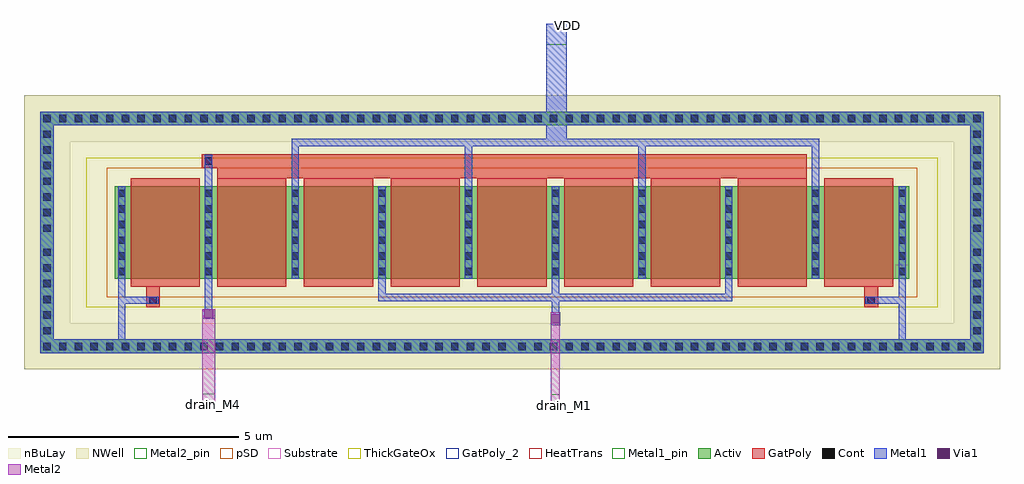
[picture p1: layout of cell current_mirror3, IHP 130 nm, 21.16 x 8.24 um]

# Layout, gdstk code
from math import pi, radians
import gdstk
lib = gdstk.Library(unit=1e-6, precision=5e-09)
def R(c, l, rs):  # rectangles x0, y0, x1, y1
    for r in rs: c.add(gdstk.rectangle(r[:2], r[2:], *l))
def A(c, l, x, y, w, h, nx, ny, dx, dy):  # array of equal rectangles
    R(c, l, [(x+i*dx, y+j*dy, x+i*dx+w, y+j*dy+h) for i in range(nx) for j in range(ny)])
def P(c, l, *ps):  # polygons
    for p in ps: c.add(gdstk.Polygon(p, *l))
Activ = (1, 0)
GatPoly = (5, 0)
GatPoly_2 = (5, 2)
Cont = (6, 0)
Metal1 = (8, 0)
Metal1_pin = (8, 2)
Metal2 = (10, 0)
Metal2_pin = (10, 2)
pSD = (14, 0)
Via1 = (19, 0)
NWell = (31, 0)
nBuLay = (32, 0)
Substrate = (40, 0)
ThickGateOx = (44, 0)
HeatTrans = (51, 0)

pmoshv = lib.new_cell('pmosHV')
A(pmoshv, Activ, 0, 0, 0.3, 0.3, 10, 1, 1.88, 0)
R(pmoshv, Activ, [(-1.62,-1.32,-1.32,3.32), (18.54,-1.32,18.84,3.32), (0,0,17.22,2), (-1.62,3.32,18.84,3.62)])
P(pmoshv, Activ, [(-1.62,-1.62),(-1.62,3.32),(-1.32,3.32),(-1.32,-1.32),(18.54,-1.32),(18.54,3.32),(-1.62,3.32),(-1.62,3.62),(18.84,3.62),(18.84,-1.62)])
A(pmoshv, GatPoly, 0.34, -0.18, 1.5, 2.36, 9, 1, 1.88, 0)
R(pmoshv, GatPoly_2, [(0.34,-0.18,1.84,2.18)])
A(pmoshv, Cont, -1.55, -1.55, 0.16, 0.16, 30, 2, 0.34, 4.94)
A(pmoshv, Cont, 8.75, -1.55, 0.16, 0.16, 30, 2, 0.34, 4.94)
A(pmoshv, Cont, -1.55, -1.21, 0.16, 0.16, 1, 6, 0, 0.34)
A(pmoshv, Cont, 18.61, -1.21, 0.16, 0.16, 1, 6, 0, 0.34)
A(pmoshv, Cont, 0.07, 0.07, 0.16, 0.16, 10, 6, 1.88, 0.34)
A(pmoshv, Cont, -1.55, 1.01, 0.16, 0.16, 1, 7, 0, 0.34)
A(pmoshv, Cont, 18.61, 1.01, 0.16, 0.16, 1, 7, 0, 0.34)
A(pmoshv, Metal1, 0.07, 0, 0.16, 2, 10, 1, 1.88, 0)
R(pmoshv, Metal1, [(-1.62,-1.62,18.84,-1.32), (-1.62,-1.32,-1.32,3.32), (18.54,-1.32,18.84,3.32), (-1.62,3.32,18.84,3.62)])
R(pmoshv, Metal1_pin, [(0.07,0,0.23,2), (1.95,0,2.11,2)])
R(pmoshv, pSD, [(-0.18,-0.4,17.4,2.4)])
R(pmoshv, NWell, [(-1.97,-1.97,19.19,3.97), (-0.62,-0.62,17.84,2.62)])
R(pmoshv, nBuLay, [(-1.97,-0.97,-0.97,2.97), (18.19,-0.97,19.19,2.97), (-1.97,2.97,19.19,3.97)])
P(pmoshv, nBuLay, [(-1.97,-1.97),(-1.97,2.97),(-0.97,2.97),(-0.97,-0.97),(18.19,-0.97),(18.19,2.97),(-1.97,2.97),(-1.97,3.97),(19.19,3.97),(19.19,-1.97)])
R(pmoshv, Substrate, [(16.92,0,17.22,0.3)])
R(pmoshv, ThickGateOx, [(-0.62,-0.62,17.84,2.62)])
A(pmoshv, HeatTrans, 0.34, -0.18, 1.5, 2.36, 9, 1, 1.88, 0)
pmoshv.add(gdstk.Label('pmosHV', (1.09,1), layer=63, texttype=0))
pmoshv.add(gdstk.Label('well', (8.61,-1.47), layer=63, texttype=0))
pmoshv.add(gdstk.Label('pmos', (1.09,1), layer=51, texttype=0))
pmoshv.add(gdstk.Label('pmos', (2.97,1), layer=51, texttype=0))
pmoshv.add(gdstk.Label('pmos', (4.85,1), layer=51, texttype=0))
pmoshv.add(gdstk.Label('pmos', (6.73,1), layer=51, texttype=0))
pmoshv.add(gdstk.Label('pmos', (8.61,1), layer=51, texttype=0))
pmoshv.add(gdstk.Label('pmos', (10.49,1), layer=51, texttype=0))
pmoshv.add(gdstk.Label('pmos', (12.37,1), layer=51, texttype=0))
pmoshv.add(gdstk.Label('pmos', (14.25,1), layer=51, texttype=0))
pmoshv.add(gdstk.Label('pmos', (16.13,1), layer=51, texttype=0))

via_stack = lib.new_cell('via_stack')
R(via_stack, Metal1, [(-0.145,-0.105,0.145,0.105)])
R(via_stack, Metal2, [(-0.145,-0.1,0.145,0.1)])
R(via_stack, Via1, [(-0.095,-0.095,0.095,0.095)])

via_stack_5 = lib.new_cell('via_stack$5')
R(via_stack_5, GatPoly, [(-0.15,-0.15,0.15,0.15)])
R(via_stack_5, Cont, [(-0.08,-0.08,0.08,0.08)])
R(via_stack_5, Metal1, [(-0.13,-0.08,0.13,0.08)])

current_mirror3 = lib.new_cell('current_mirror3')
R(current_mirror3, GatPoly, [(0.275,0.595,0.575,1.215), (0.275,0.595,0.575,1.215), (15.845,0.595,16.145,1.215), (15.845,0.595,16.145,1.215), (1.82,3.395,14.6,3.915), (1.48,3.615,2.02,3.915)])
R(current_mirror3, Metal1, [(16.59,-0.405,16.75,0.825), (-0.33,-0.3,-0.17,0.825), (9.045,0.2,9.255,0.49), (9.07,0.2,9.23,1.445), (1.49,0.345,1.78,0.555), (1.55,0.345,1.71,1.445), (-0.33,0.665,0.555,0.825), (-0.33,0.665,0.555,0.825), (-0.33,0.665,-0.17,1.445), (-0.33,0.665,-0.17,1.445), (15.865,0.665,16.75,0.825), (15.865,0.665,16.75,0.825), (16.59,0.665,16.75,1.445), (16.59,0.665,16.75,1.445), (5.31,0.725,12.99,0.885), (5.31,0.725,5.47,1.445), (12.83,0.725,12.99,1.445), (10.95,2.98,11.11,4.25), (1.55,2.985,1.71,3.895), (3.43,2.985,3.59,4.25), (7.19,2.985,7.35,4.25), (14.71,2.985,14.87,4.25), (3.43,4.08,14.87,4.25), (8.95,4.08,9.4,6.735)])
R(current_mirror3, Metal1_pin, [(8.95,6.28,9.4,6.735)])
R(current_mirror3, Metal2, [(1.49,-1.505,1.78,0.55), (9.05,-1.5,9.25,0.49)])
R(current_mirror3, Metal2_pin, [(1.49,-1.505,1.78,-1.285), (9.05,-1.5,9.25,-1.295)])
current_mirror3.add(gdstk.Reference(pmoshv, (-0.4,1.215)))
current_mirror3.add(gdstk.Reference(via_stack, (9.15,0.345), rotation=pi/2))
current_mirror3.add(gdstk.Reference(via_stack_5, (15.995,0.745)))
current_mirror3.add(gdstk.Reference(via_stack_5, (15.995,0.745)))
current_mirror3.add(gdstk.Reference(via_stack_5, (0.425,0.745), rotation=pi, x_reflection=True))
current_mirror3.add(gdstk.Reference(via_stack_5, (0.425,0.745), rotation=pi, x_reflection=True))
current_mirror3.add(gdstk.Reference(via_stack_5, (1.63,3.765), rotation=3*pi/2))
current_mirror3.add(gdstk.Reference(via_stack, (1.635,0.45)))
current_mirror3.add(gdstk.Label('VDD', (9.42,6.71), layer=8, texttype=0))
current_mirror3.add(gdstk.Label('drain_M1', (9.35,-1.535), layer=10, texttype=0))
current_mirror3.add(gdstk.Label('drain_M4', (1.735,-1.505), layer=10, texttype=0))

lib.write_gds('current_mirror3.gds')
